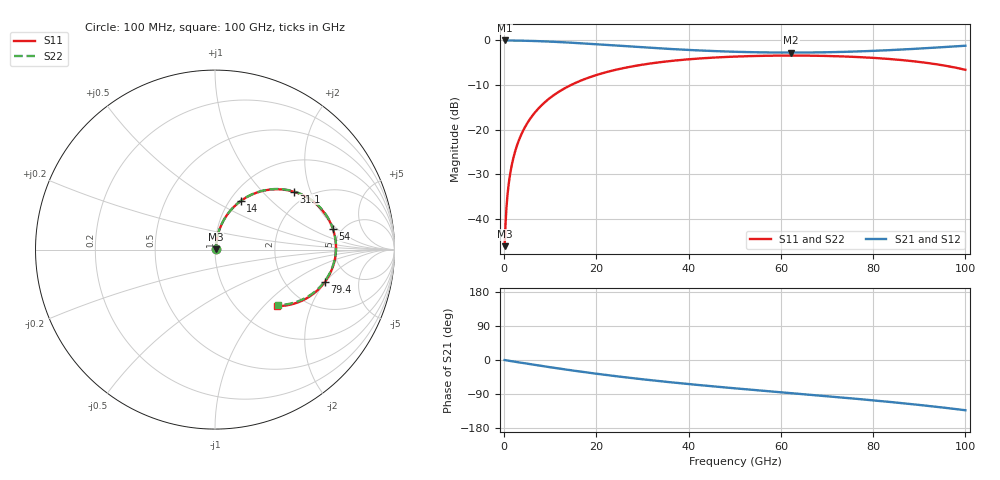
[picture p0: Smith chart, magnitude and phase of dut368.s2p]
! Touchstone file exported from HFSS 2026.1.0
!  File:  C:/ffzhzh/LocalFiles/Ansys_Project_Files/temp_train_RDL_368_1783503528_9504.aedt
!  Generated:  05:40:01 PM Jul  8, 2026
!  Design:  RDL
!  Project:  temp_train_RDL_368_1783503528_9504
! Variables:
!  h_bsmrdl = 2um
!  h_ox = 20um
!  h_rdl = 5um
!  h_sub = 80um
!  h_tmrdl = 2.31um
!  h_tsv = 80um
!  h_via = 3um
!  l_bsmrdl = 300um
!  l_sub = 850.35um
!  l_tmrdl = 450.35um
!  m_sub = 200um
!  pitch = 54.35um
!  r_tsv = 6um
!  s_tmrdl = 10um
!  w_bsmrdl = 18um
!  w_sub = 500um
!  w_tmrdl = 17.05um
!  x_tsv_center1 = 458.875um
!  x_tsv_center2 = 776.875um
!  x_tsv_center3 = 1244.275um
!  x_tsv_center4 = 1562.275um
!  x_tsv_center5 = 2029.675um
!  x_tsv_center6 = 2347.675um
# GHz S MA R 50.000000
! Terminal data exported
! Port[1] = TM_RDL1_1_T1
! Port[2] = TM_RDL1_1_T2
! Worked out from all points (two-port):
!   1000 points, 100 MHz to 100 GHz, reference 50 ohm
!   highest |S21| = -0.04 dB at 100 MHz (marker M1); lowest = -2.8 dB at 62.2 GHz (marker M2)
!   |S21| within 3 dB of the highest: start of sweep to end of sweep
!   lowest |S11| = -46.1 dB at 100 MHz (marker M3), VSWR 1.01, Z = 50.4 + j0.255 ohm
!   |S11| at or under -10 dB: start of sweep to 14.53 GHz
!   |S22| runs from -46.1 to -3.4 dB; largest |S21 - S12| = 1.5e-14
!   S11 on the Smith chart (normalised r, x): 100 MHz: 1.01, +0.01; 14 GHz: 1.12, +0.67; 31.1 GHz: 1.68, +1.54; 54 GHz: 4.22, +1.77; 79.4 GHz: 3.24, -1.97; 100 GHz: 1.48, -1.19
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0.1  0.004949 30.7  0.9957 -0.2  0.9957 -0.2  0.004949 30.7
! Gamma 0 0 0 0
! Port Impedance 50 0 50 0
0.9  0.02253 75.5  0.9948 -1.8  0.9948 -1.8  0.02253 75.5
1.4  0.03414 78.4  0.9942 -2.8  0.9942 -2.8  0.03414 78.4
2.3  0.05513 79.8  0.993 -4.5  0.993 -4.5  0.05513 79.8
3.6  0.08539 79.1  0.9906 -7.0  0.9906 -7.0  0.08539 79.1
5.4  0.1268 76.7  0.9858 -10.5  0.9858 -10.5  0.1268 76.7
7.7  0.1782 72.9  0.9772 -14.9  0.9772 -14.9  0.1781 73.0
10.6  0.2398 67.9  0.9632 -20.2  0.9632 -20.2  0.2397 68.0
14  0.3065 62.1  0.9432 -26.3  0.9432 -26.3  0.3065 62.2
16.8  0.3566 57.4  0.9248 -31.0  0.9248 -31.0  0.3565 57.6
23.6  0.4595 46.8  0.8776 -41.8  0.8776 -41.8  0.4594 47.0
31.1  0.5443 36.4  0.8279 -52.4  0.8279 -52.4  0.5442 36.7
33.4  0.565 33.4  0.8141 -55.4  0.8141 -55.4  0.5649 33.7
41.7  0.6222 23.4  0.772 -65.5  0.772 -65.5  0.6221 23.8
50.1  0.657 14.2  0.7435 -74.8  0.7435 -74.8  0.6569 14.7
54  0.6665 10.1  0.7352 -79.0  0.7352 -79.0  0.6664 10.6
62.2  0.6745 1.7  0.7282 -87.5  0.7282 -87.5  0.6745 2.3
66.7  0.6722 -2.9  0.7303 -92.1  0.7303 -92.1  0.6721 -2.3
79.4  0.6383 -16.4  0.759 -105.8  0.759 -105.8  0.6383 -15.6
83.4  0.6181 -20.9  0.7749 -110.4  0.7749 -110.4  0.618 -20.1
92.4  0.5513 -32.0  0.8215 -121.7  0.8215 -121.7  0.5513 -31.1
100  0.4675 -42.3  0.8692 -132.5  0.8692 -132.5  0.4675 -41.4
